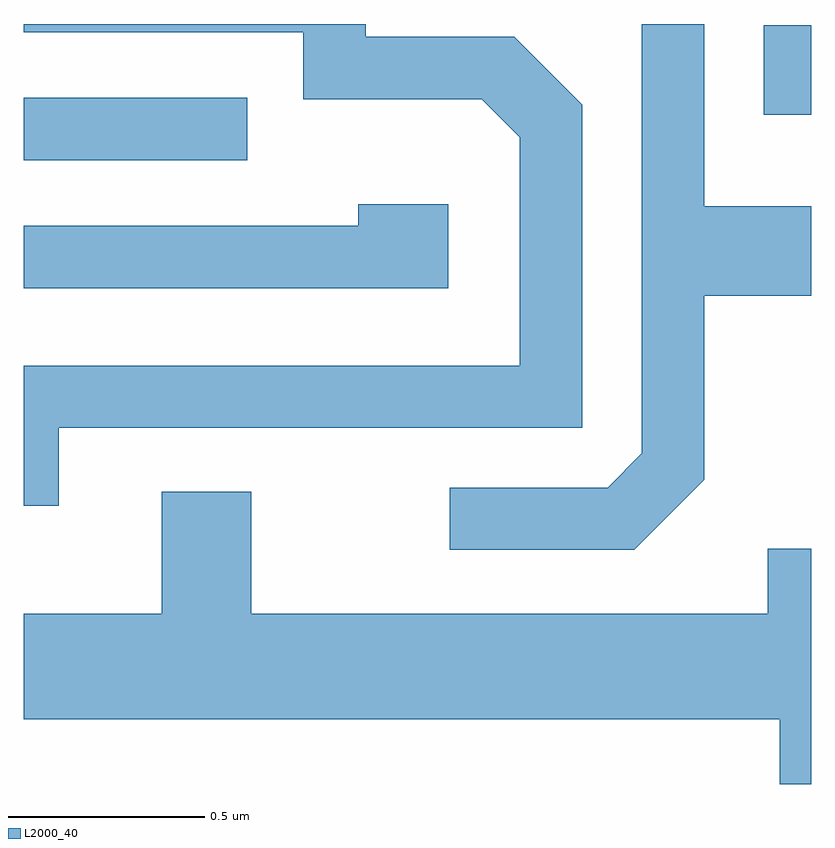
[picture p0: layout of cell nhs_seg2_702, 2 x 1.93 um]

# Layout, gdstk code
import gdstk
lib = gdstk.Library(unit=1e-6, precision=1e-09)
def R(c, l, rs):  # rectangles x0, y0, x1, y1
    for r in rs: c.add(gdstk.rectangle(r[:2], r[2:], *l))
def P(c, l, *ps):  # polygons
    for p in ps: c.add(gdstk.Polygon(p, *l))
L2000_40 = (2000, 40)

nhs_seg2_702 = lib.new_cell('nhs_seg2_702')
R(nhs_seg2_702, L2000_40, [(190.611,996.456,191.178,996.614), (192.491,996.571,192.611,996.799)])
P(nhs_seg2_702, L2000_40, [(190.699,995.776),(192.029,995.776),(192.029,996.597),(191.857,996.769),(191.479,996.769),(191.479,996.802),(190.611,996.802),(190.611,996.781),(191.321,996.781),(191.321,996.611),(191.774,996.611),(191.871,996.514),(191.871,995.934),(190.611,995.934),(190.611,995.578),(190.699,995.578)],
  [(192.339,995.644),(192.339,996.111),(192.611,996.111),(192.611,996.339),(192.339,996.339),(192.339,996.802),(192.181,996.802),(192.181,995.712),(192.094,995.624),(191.693,995.624),(191.693,995.466),(192.162,995.466)],
  [(191.689,996.344),(191.461,996.344),(191.461,996.289),(190.611,996.289),(190.611,996.131),(191.689,996.131)],
  [(192.611,995.469),(192.501,995.469),(192.501,995.304),(191.189,995.304),(191.189,995.614),(190.961,995.614),(190.961,995.304),(190.611,995.304),(190.611,995.036),(192.531,995.036),(192.531,994.871),(192.611,994.871)])

lib.write_gds('nhs_seg2_702.gds')
